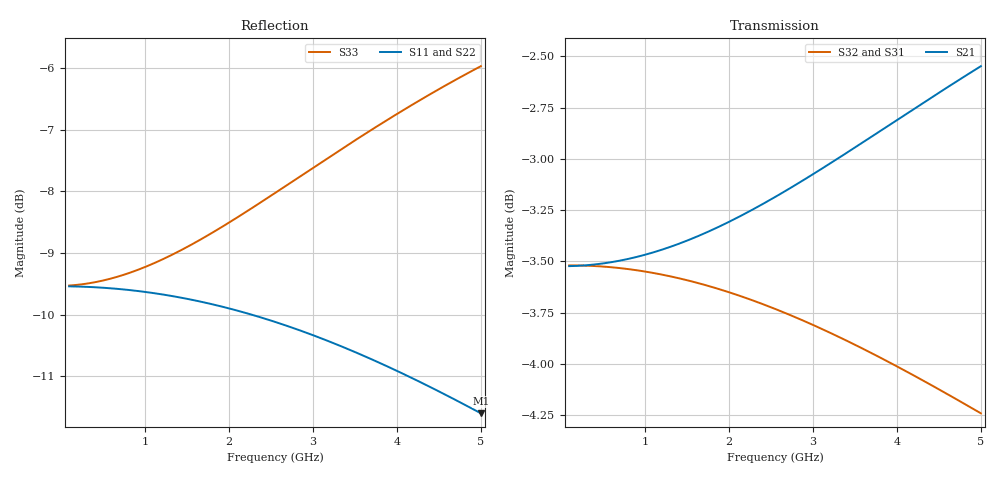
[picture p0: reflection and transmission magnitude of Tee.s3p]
! Sonnet Data File
! From: sonnet Version : 18.53-Lite
! From Emgraph Data:
! Data File Written: 04/08/2024 17:28:54
!< HDATE 04/08/2024 17:28:28
!< MDATE 04/08/2024 17:28:28
# GHZ S MA R 50.00000
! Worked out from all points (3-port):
!   246 points, 100 MHz to 5 GHz, reference 50 ohm
!   strongest paths, dB at 100 MHz, 1.32 GHz, 2.56 GHz, 3.78 GHz, 5 GHz:
!     S21: -3.5, -3.4, -3.2, -2.9, -2.5
!     S32: -3.5, -3.6, -3.7, -4.0, -4.2
!     S31: -3.5, -3.6, -3.7, -4.0, -4.3
!   lowest |S11| = -11.6 dB at 5 GHz (marker M1), VSWR 1.71, Z = 29.2 - j0.134 ohm
!   |S11| at or under -10 dB: 2.269 GHz to end of sweep
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0.1  0.3333 -179.9  0.6666 -0.4  0.6668 0.8
     0.6666 -0.4  0.3334 -179.8  0.6668 0.9
     0.6668 0.8  0.6668 0.9  0.3339 -177.4
0.68  0.3318 -179.1  0.6685 -2.6  0.6659 5.4
      0.6685 -2.6  0.3317 -178.6  0.6659 5.7
      0.6659 5.4  0.6659 5.7  0.3395 -162.6
0.98  0.3301 -178.8  0.6706 -3.7  0.6646 7.8
      0.6706 -3.7  0.33 -178.0  0.6647 8.2
      0.6646 7.8  0.6647 8.2  0.3451 -155.2
1.28  0.3278 -178.4  0.6736 -4.8  0.6628 10.2
      0.6736 -4.8  0.3276 -177.5  0.6629 10.7
      0.6628 10.2  0.6629 10.7  0.3524 -148.0
1.9  0.3212 -177.9  0.6818 -7.0  0.6577 15.0
     0.6818 -7.0  0.3209 -176.4  0.6579 15.7
     0.6577 15.0  0.6579 15.7  0.3718 -133.9
2.56  0.3118 -177.5  0.6931 -9.0  0.6503 20.1
      0.6931 -9.0  0.3113 -175.6  0.6506 21.0
      0.6503 20.1  0.6506 21.0  0.3972 -120.3
3.18  0.301 -177.4  0.7056 -10.7  0.642 24.7
      0.7056 -10.7  0.3002 -175.0  0.6425 25.9
      0.642 24.7  0.6425 25.9  0.4237 -108.8
3.78  0.2893 -177.7  0.7186 -12.1  0.6329 29.0
      0.7186 -12.1  0.288 -174.9  0.6335 30.4
      0.6329 29.0  0.6335 30.4  0.4502 -98.6
4.38  0.2766 -178.4  0.7321 -13.3  0.6232 33.2
      0.7321 -13.3  0.2749 -175.1  0.624 34.8
      0.6232 33.2  0.624 34.8  0.4765 -89.4
5  0.263 -179.5  0.7458 -14.4  0.6127 37.4
   0.7458 -14.4  0.2607 -175.7  0.6137 39.3
   0.6127 37.4  0.6137 39.3  0.5029 -80.6
